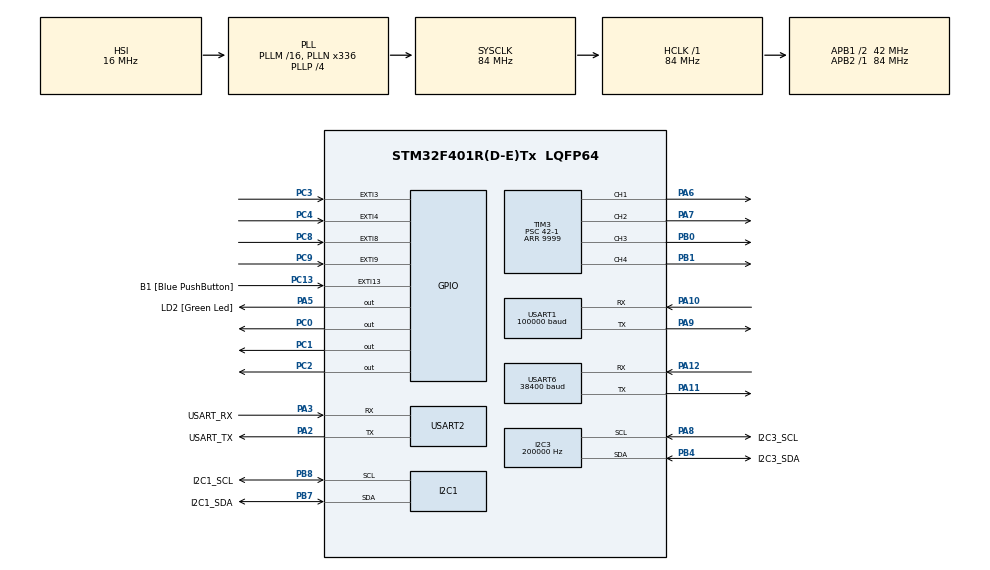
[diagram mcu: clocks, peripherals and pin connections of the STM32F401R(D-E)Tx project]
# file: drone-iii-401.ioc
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Dma.I2C1_RX.1.Direction=DMA_PERIPH_TO_MEMORY
Dma.I2C1_RX.1.FIFOMode=DMA_FIFOMODE_DISABLE
Dma.I2C1_RX.1.Instance=DMA1_Stream0
Dma.I2C1_RX.1.MemDataAlignment=DMA_MDATAALIGN_BYTE
Dma.I2C1_RX.1.MemInc=DMA_MINC_ENABLE
Dma.I2C1_RX.1.Mode=DMA_NORMAL
Dma.I2C1_RX.1.PeriphDataAlignment=DMA_PDATAALIGN_BYTE
Dma.I2C1_RX.1.PeriphInc=DMA_PINC_DISABLE
Dma.I2C1_RX.1.Priority=DMA_PRIORITY_LOW
Dma.I2C1_TX.0.Direction=DMA_MEMORY_TO_PERIPH
Dma.I2C1_TX.0.FIFOMode=DMA_FIFOMODE_DISABLE
Dma.I2C1_TX.0.Instance=DMA1_Stream7
Dma.I2C1_TX.0.MemDataAlignment=DMA_MDATAALIGN_BYTE
Dma.I2C1_TX.0.MemInc=DMA_MINC_ENABLE
Dma.I2C1_TX.0.Mode=DMA_NORMAL
Dma.I2C1_TX.0.PeriphDataAlignment=DMA_PDATAALIGN_BYTE
Dma.I2C1_TX.0.PeriphInc=DMA_PINC_DISABLE
Dma.I2C1_TX.0.Priority=DMA_PRIORITY_LOW
Dma.I2C3_RX.7.Direction=DMA_PERIPH_TO_MEMORY
Dma.I2C3_RX.7.FIFOMode=DMA_FIFOMODE_DISABLE
Dma.I2C3_RX.7.Instance=DMA1_Stream1
Dma.I2C3_RX.7.MemDataAlignment=DMA_MDATAALIGN_BYTE
Dma.I2C3_RX.7.MemInc=DMA_MINC_ENABLE
Dma.I2C3_RX.7.Mode=DMA_NORMAL
Dma.I2C3_RX.7.PeriphDataAlignment=DMA_PDATAALIGN_BYTE
Dma.I2C3_RX.7.PeriphInc=DMA_PINC_DISABLE
Dma.I2C3_RX.7.Priority=DMA_PRIORITY_LOW
Dma.I2C3_TX.8.Direction=DMA_MEMORY_TO_PERIPH
Dma.I2C3_TX.8.FIFOMode=DMA_FIFOMODE_DISABLE
Dma.I2C3_TX.8.Instance=DMA1_Stream4
Dma.I2C3_TX.8.MemDataAlignment=DMA_MDATAALIGN_BYTE
Dma.I2C3_TX.8.MemInc=DMA_MINC_ENABLE
Dma.I2C3_TX.8.Mode=DMA_NORMAL
Dma.I2C3_TX.8.PeriphDataAlignment=DMA_PDATAALIGN_BYTE
Dma.I2C3_TX.8.PeriphInc=DMA_PINC_DISABLE
Dma.I2C3_TX.8.Priority=DMA_PRIORITY_LOW
Dma.Request0=I2C1_TX
Dma.Request1=I2C1_RX
Dma.Request2=USART6_RX
Dma.Request3=USART6_TX
Dma.Request4=USART2_RX
Dma.Request5=USART2_TX
Dma.Request6=USART1_RX
Dma.Request7=I2C3_RX
Dma.Request8=I2C3_TX
Dma.USART1_RX.6.Direction=DMA_PERIPH_TO_MEMORY
Dma.USART1_RX.6.FIFOMode=DMA_FIFOMODE_DISABLE
Dma.USART1_RX.6.Instance=DMA2_Stream2
Dma.USART1_RX.6.MemDataAlignment=DMA_MDATAALIGN_BYTE
Dma.USART1_RX.6.MemInc=DMA_MINC_ENABLE
Dma.USART1_RX.6.Mode=DMA_NORMAL
Dma.USART1_RX.6.PeriphDataAlignment=DMA_PDATAALIGN_BYTE
Dma.USART1_RX.6.PeriphInc=DMA_PINC_DISABLE
Dma.USART1_RX.6.Priority=DMA_PRIORITY_LOW
Dma.USART2_RX.4.Direction=DMA_PERIPH_TO_MEMORY
Dma.USART2_RX.4.FIFOMode=DMA_FIFOMODE_DISABLE
Dma.USART2_RX.4.Instance=DMA1_Stream5
Dma.USART2_RX.4.MemDataAlignment=DMA_MDATAALIGN_BYTE
Dma.USART2_RX.4.MemInc=DMA_MINC_ENABLE
Dma.USART2_RX.4.Mode=DMA_NORMAL
Dma.USART2_RX.4.PeriphDataAlignment=DMA_PDATAALIGN_BYTE
Dma.USART2_RX.4.PeriphInc=DMA_PINC_DISABLE
Dma.USART2_RX.4.Priority=DMA_PRIORITY_LOW
Dma.USART2_TX.5.Direction=DMA_MEMORY_TO_PERIPH
Dma.USART2_TX.5.FIFOMode=DMA_FIFOMODE_DISABLE
Dma.USART2_TX.5.Instance=DMA1_Stream6
Dma.USART2_TX.5.MemDataAlignment=DMA_MDATAALIGN_BYTE
Dma.USART2_TX.5.MemInc=DMA_MINC_ENABLE
Dma.USART2_TX.5.Mode=DMA_NORMAL
Dma.USART2_TX.5.PeriphDataAlignment=DMA_PDATAALIGN_BYTE
Dma.USART2_TX.5.PeriphInc=DMA_PINC_DISABLE
Dma.USART2_TX.5.Priority=DMA_PRIORITY_LOW
Dma.USART6_RX.2.Direction=DMA_PERIPH_TO_MEMORY
Dma.USART6_RX.2.FIFOMode=DMA_FIFOMODE_DISABLE
Dma.USART6_RX.2.Instance=DMA2_Stream1
Dma.USART6_RX.2.MemDataAlignment=DMA_MDATAALIGN_BYTE
Dma.USART6_RX.2.MemInc=DMA_MINC_ENABLE
Dma.USART6_RX.2.Mode=DMA_NORMAL
Dma.USART6_RX.2.PeriphDataAlignment=DMA_PDATAALIGN_BYTE
Dma.USART6_RX.2.PeriphInc=DMA_PINC_DISABLE
Dma.USART6_RX.2.Priority=DMA_PRIORITY_LOW
Dma.USART6_TX.3.Direction=DMA_MEMORY_TO_PERIPH
Dma.USART6_TX.3.FIFOMode=DMA_FIFOMODE_DISABLE
Dma.USART6_TX.3.Instance=DMA2_Stream6
Dma.USART6_TX.3.MemDataAlignment=DMA_MDATAALIGN_BYTE
Dma.USART6_TX.3.MemInc=DMA_MINC_ENABLE
Dma.USART6_TX.3.Mode=DMA_NORMAL
Dma.USART6_TX.3.PeriphDataAlignment=DMA_PDATAALIGN_BYTE
Dma.USART6_TX.3.PeriphInc=DMA_PINC_DISABLE
Dma.USART6_TX.3.Priority=DMA_PRIORITY_LOW
I2C1.I2C_Mode=I2C_Fast
I2C3.ClockSpeed=200000
I2C3.I2C_Mode=I2C_Fast
Mcu.Family=STM32F4
Mcu.Name=STM32F401R(D-E)Tx
Mcu.Package=LQFP64
NVIC.DMA1_Stream0_IRQn=true\:0\:0\:false\:false\:true\:false\:true
NVIC.DMA1_Stream1_IRQn=true\:0\:0\:false\:false\:true\:false\:true
NVIC.DMA1_Stream4_IRQn=true\:0\:0\:false\:false\:true\:false\:true
NVIC.DMA1_Stream5_IRQn=true\:0\:0\:false\:false\:true\:false\:true
NVIC.DMA1_Stream6_IRQn=true\:0\:0\:false\:false\:true\:false\:true
NVIC.DMA1_Stream7_IRQn=true\:0\:0\:false\:false\:true\:false\:true
NVIC.DMA2_Stream1_IRQn=true\:0\:0\:false\:false\:true\:false\:true
NVIC.DMA2_Stream2_IRQn=true\:0\:0\:false\:false\:true\:false\:true
NVIC.DMA2_Stream6_IRQn=true\:0\:0\:false\:false\:true\:false\:true
NVIC.EXTI15_10_IRQn=true\:13\:0\:true\:false\:true\:true\:true
NVIC.I2C1_ER_IRQn=true\:7\:0\:true\:false\:true\:true\:true
NVIC.I2C1_EV_IRQn=true\:7\:0\:true\:false\:true\:true\:true
NVIC.I2C3_ER_IRQn=true\:0\:0\:false\:false\:true\:true\:true
NVIC.I2C3_EV_IRQn=true\:0\:0\:false\:false\:true\:true\:true
NVIC.PriorityGroup=NVIC_PRIORITYGROUP_4
NVIC.TIM1_UP_TIM10_IRQn=true\:12\:0\:true\:false\:true\:true\:true
NVIC.USART1_IRQn=true\:8\:0\:true\:false\:true\:true\:true
NVIC.USART2_IRQn=true\:10\:0\:true\:false\:true\:true\:true
NVIC.USART6_IRQn=true\:10\:0\:true\:false\:true\:true\:true
PA0-WKUP.Signal=S_TIM2_CH1_ETR
PA10.Mode=Asynchronous
PA10.Signal=USART1_RX
PA11.Mode=Asynchronous
PA11.Signal=USART6_TX
PA12.Mode=Asynchronous
PA12.Signal=USART6_RX
PA13.GPIO_Label=TMS
PA13.Mode=Serial_Wire
PA13.Signal=SYS_JTMS-SWDIO
PA14.GPIO_Label=TCK
PA14.Mode=Serial_Wire
PA14.Signal=SYS_JTCK-SWCLK
PA2.GPIO_Label=USART_TX
PA2.GPIO_Mode=GPIO_MODE_AF_PP
PA2.GPIO_PuPd=GPIO_NOPULL
PA2.GPIO_Speed=GPIO_SPEED_FREQ_LOW
PA2.Mode=Asynchronous
PA2.Signal=USART2_TX
PA3.GPIO_Label=USART_RX
PA3.GPIO_Mode=GPIO_MODE_AF_PP
PA3.GPIO_PuPd=GPIO_NOPULL
PA3.GPIO_Speed=GPIO_SPEED_FREQ_LOW
PA3.Mode=Asynchronous
PA3.Signal=USART2_RX
PA5.GPIO_Label=LD2 [Green Led]
PA5.GPIO_Mode=GPIO_MODE_OUTPUT_PP
PA5.GPIO_PuPd=GPIO_NOPULL
PA5.GPIO_Speed=GPIO_SPEED_FREQ_LOW
PA5.Signal=GPIO_Output
PA6.Signal=S_TIM3_CH1
PA7.Signal=S_TIM3_CH2
PA8.GPIO_Label=I2C3_SCL
PA8.Mode=I2C
PA8.Signal=I2C3_SCL
PA9.Mode=Asynchronous
PA9.Signal=USART1_TX
PB0.Signal=S_TIM3_CH3
PB1.Signal=S_TIM3_CH4
PB3.GPIO_Label=SWO
PB3.Signal=SYS_JTDO-SWO
PB4.GPIO_Label=I2C3_SDA
PB4.Mode=I2C
PB4.Signal=I2C3_SDA
PB7.GPIO_Label=I2C1_SDA
PB7.Mode=I2C
PB7.Signal=I2C1_SDA
PB8.GPIO_Label=I2C1_SCL
PB8.Mode=I2C
PB8.Signal=I2C1_SCL
PC0.GPIO_PuPd=GPIO_NOPULL
PC0.PinState=GPIO_PIN_SET
PC0.Signal=GPIO_Output
PC1.GPIO_PuPd=GPIO_NOPULL
PC1.PinState=GPIO_PIN_SET
PC1.Signal=GPIO_Output
PC13-ANTI_TAMP.GPIO_Label=B1 [Blue PushButton]
PC13-ANTI_TAMP.GPIO_ModeDefaultEXTI=GPIO_MODE_IT_FALLING
PC13-ANTI_TAMP.GPIO_PuPd=GPIO_NOPULL
PC13-ANTI_TAMP.Signal=GPXTI13
PC14-OSC32_IN.Mode=LSE-External-Oscillator
PC14-OSC32_IN.Signal=RCC_OSC32_IN
PC15-OSC32_OUT.Mode=LSE-External-Oscillator
PC15-OSC32_OUT.Signal=RCC_OSC32_OUT
PC2.GPIO_PuPd=GPIO_NOPULL
PC2.PinState=GPIO_PIN_SET
PC2.Signal=GPIO_Output
PC3.GPIO_ModeDefaultEXTI=GPIO_MODE_IT_FALLING
PC3.Signal=GPXTI3
PC4.GPIO_ModeDefaultEXTI=GPIO_MODE_IT_FALLING
PC4.Signal=GPXTI4
PC8.GPIO_ModeDefaultEXTI=GPIO_MODE_IT_FALLING
PC8.Signal=GPXTI8
PC9.GPIO_ModeDefaultEXTI=GPIO_MODE_IT_FALLING
PC9.Signal=GPXTI9
PH0\ -\ OSC_IN.Mode=HSE-External-Clock-Source
PH0\ -\ OSC_IN.Signal=RCC_OSC_IN
PH1\ -\ OSC_OUT.Mode=HSE-External-Clock-Source
PH1\ -\ OSC_OUT.Signal=RCC_OSC_OUT
ProjectManager.HeapSize=0x200
ProjectManager.StackSize=0x400
ProjectManager.TargetToolchain=Makefile
RCC.48MHZClocksFreq_Value=48000000
RCC.AHBFreq_Value=84000000
RCC.APB1CLKDivider=RCC_HCLK_DIV2
RCC.APB1Freq_Value=42000000
RCC.APB1TimFreq_Value=84000000
RCC.APB2Freq_Value=84000000
RCC.APB2TimFreq_Value=84000000
RCC.CortexFreq_Value=84000000
RCC.HCLKFreq_Value=84000000
RCC.HSE_VALUE=8000000
RCC.HSI_VALUE=16000000
RCC.PLLN=336
RCC.PLLP=RCC_PLLP_DIV4
RCC.PLLQ=7
RCC.SYSCLKFreq_VALUE=84000000
RCC.SYSCLKSource=RCC_SYSCLKSOURCE_PLLCLK
RCC.VCOOutputFreq_Value=336000000
SH.S_TIM2_CH1_ETR.0=TIM2_CH1
SH.S_TIM3_CH1.0=TIM3_CH1,PWM Generation1 CH1
SH.S_TIM3_CH2.0=TIM3_CH2,PWM Generation2 CH2
SH.S_TIM3_CH3.0=TIM3_CH3,PWM Generation3 CH3
SH.S_TIM3_CH4.0=TIM3_CH4,PWM Generation4 CH4
TIM10.AutoReloadPreload=TIM_AUTORELOAD_PRELOAD_ENABLE
TIM10.Period=1000-1
TIM10.Prescaler=8400-1
TIM3.Channel-PWM\ Generation1\ CH1=TIM_CHANNEL_1
TIM3.Channel-PWM\ Generation2\ CH2=TIM_CHANNEL_2
TIM3.Channel-PWM\ Generation3\ CH3=TIM_CHANNEL_3
TIM3.Channel-PWM\ Generation4\ CH4=TIM_CHANNEL_4
TIM3.Period=9999
TIM3.Prescaler=42-1
USART1.BaudRate=100000
USART1.Mode=MODE_RX
USART1.Parity=PARITY_EVEN
USART1.VirtualMode=VM_ASYNC
USART1.WordLength=WORDLENGTH_9B
USART2.VirtualMode=VM_ASYNC
USART6.BaudRate=38400
USART6.VirtualMode=VM_ASYNC
VP_TIM10_VS_ClockSourceINT.Mode=Enable_Timer
board=NUCLEO-F401RE

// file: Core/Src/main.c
/* USER CODE BEGIN Header */
/**
  ******************************************************************************
  * @file           : main.c
  * @brief          : Main program body
  ******************************************************************************
  * @attention
  *
  * <h2><center>&copy; Copyright (c) 2022 STMicroelectronics.
  * All rights reserved.</center></h2>
  *
  * This software component is licensed by ST under BSD 3-Clause license,
  * the "License"; You may not use this file except in compliance with the
  * License. You may obtain a copy of the License at:
  *                        opensource.org/licenses/BSD-3-Clause
  *
  ******************************************************************************
  */
/* USER CODE END Header */
#include "main.h"
#include "dma.h"
#include "i2c.h"
#include "tim.h"
#include "usart.h"
#include "gpio.h"

/* USER CODE BEGIN Includes */
#include "ucos_ii.h"
#include "app_manage.h"
#include "sdk_time.h"
#include "sdk_ano.h"
#include "sdk_i2c.h"
#include "sdk_usart.h"

/* USER CODE END Includes */

void SystemClock_Config(void);

int main(void) {

    /* MCU Configuration--------------------------------------------------------*/

    /* Reset of all peripherals, Initializes the Flash interface and the Systick. */
    HAL_Init();

    /* Configure the system clock */
    SystemClock_Config();

    /* Initialize all configured peripherals */
    MX_GPIO_Init();
    MX_DMA_Init();
    MX_USART1_UART_Init();
    MX_TIM3_Init();
    MX_I2C1_Init();
    MX_USART2_UART_Init();
    MX_USART6_UART_Init();
    MX_TIM10_Init();
    MX_I2C3_Init();
    /* USER CODE BEGIN 2 */

    sdk_io_init(FD_UART);
    HAL_Delay(1);

//    app_bluetooth_init();

//    app_oled_Show_Template();

    OS_TRACE_INIT();
    OS_TRACE_START();
    OSInit();

    sdk_i2c_dma_init();
    sdk_usartdma_init();

    app_init();
    app_create_task();

    OSStart();

    /* USER CODE END 2 */

    /* Infinite loop */
    while (1) {

    }
}

void SystemClock_Config(void) {
    RCC_OscInitTypeDef RCC_OscInitStruct = {0};
    RCC_ClkInitTypeDef RCC_ClkInitStruct = {0};

    /** Configure the main internal regulator output voltage
    */
    __HAL_RCC_PWR_CLK_ENABLE();
    __HAL_PWR_VOLTAGESCALING_CONFIG(PWR_REGULATOR_VOLTAGE_SCALE2);
    /** Initializes the RCC Oscillators according to the specified parameters
    * in the RCC_OscInitTypeDef structure.
    */
    RCC_OscInitStruct.OscillatorType = RCC_OSCILLATORTYPE_HSI;
    RCC_OscInitStruct.HSIState = RCC_HSI_ON;
    RCC_OscInitStruct.HSICalibrationValue = RCC_HSICALIBRATION_DEFAULT;
    RCC_OscInitStruct.PLL.PLLState = RCC_PLL_ON;
    RCC_OscInitStruct.PLL.PLLSource = RCC_PLLSOURCE_HSI;
    RCC_OscInitStruct.PLL.PLLM = 16;
    RCC_OscInitStruct.PLL.PLLN = 336;
    RCC_OscInitStruct.PLL.PLLP = RCC_PLLP_DIV4;
    RCC_OscInitStruct.PLL.PLLQ = 7;
    if (HAL_RCC_OscConfig(&RCC_OscInitStruct) != HAL_OK) {
        Error_Handler();
    }
    /** Initializes the CPU, AHB and APB buses clocks
    */
    RCC_ClkInitStruct.ClockType = RCC_CLOCKTYPE_HCLK | RCC_CLOCKTYPE_SYSCLK
                                  | RCC_CLOCKTYPE_PCLK1 | RCC_CLOCKTYPE_PCLK2;
    RCC_ClkInitStruct.SYSCLKSource = RCC_SYSCLKSOURCE_PLLCLK;
    RCC_ClkInitStruct.AHBCLKDivider = RCC_SYSCLK_DIV1;
    RCC_ClkInitStruct.APB1CLKDivider = RCC_HCLK_DIV2;
    RCC_ClkInitStruct.APB2CLKDivider = RCC_HCLK_DIV1;

    if (HAL_RCC_ClockConfig(&RCC_ClkInitStruct, FLASH_LATENCY_2) != HAL_OK) {
        Error_Handler();
    }
}

void Error_Handler(void) {
    __disable_irq();
    while (1) {
    }
}

/************************ (C) COPYRIGHT STMicroelectronics *****END OF FILE****/
